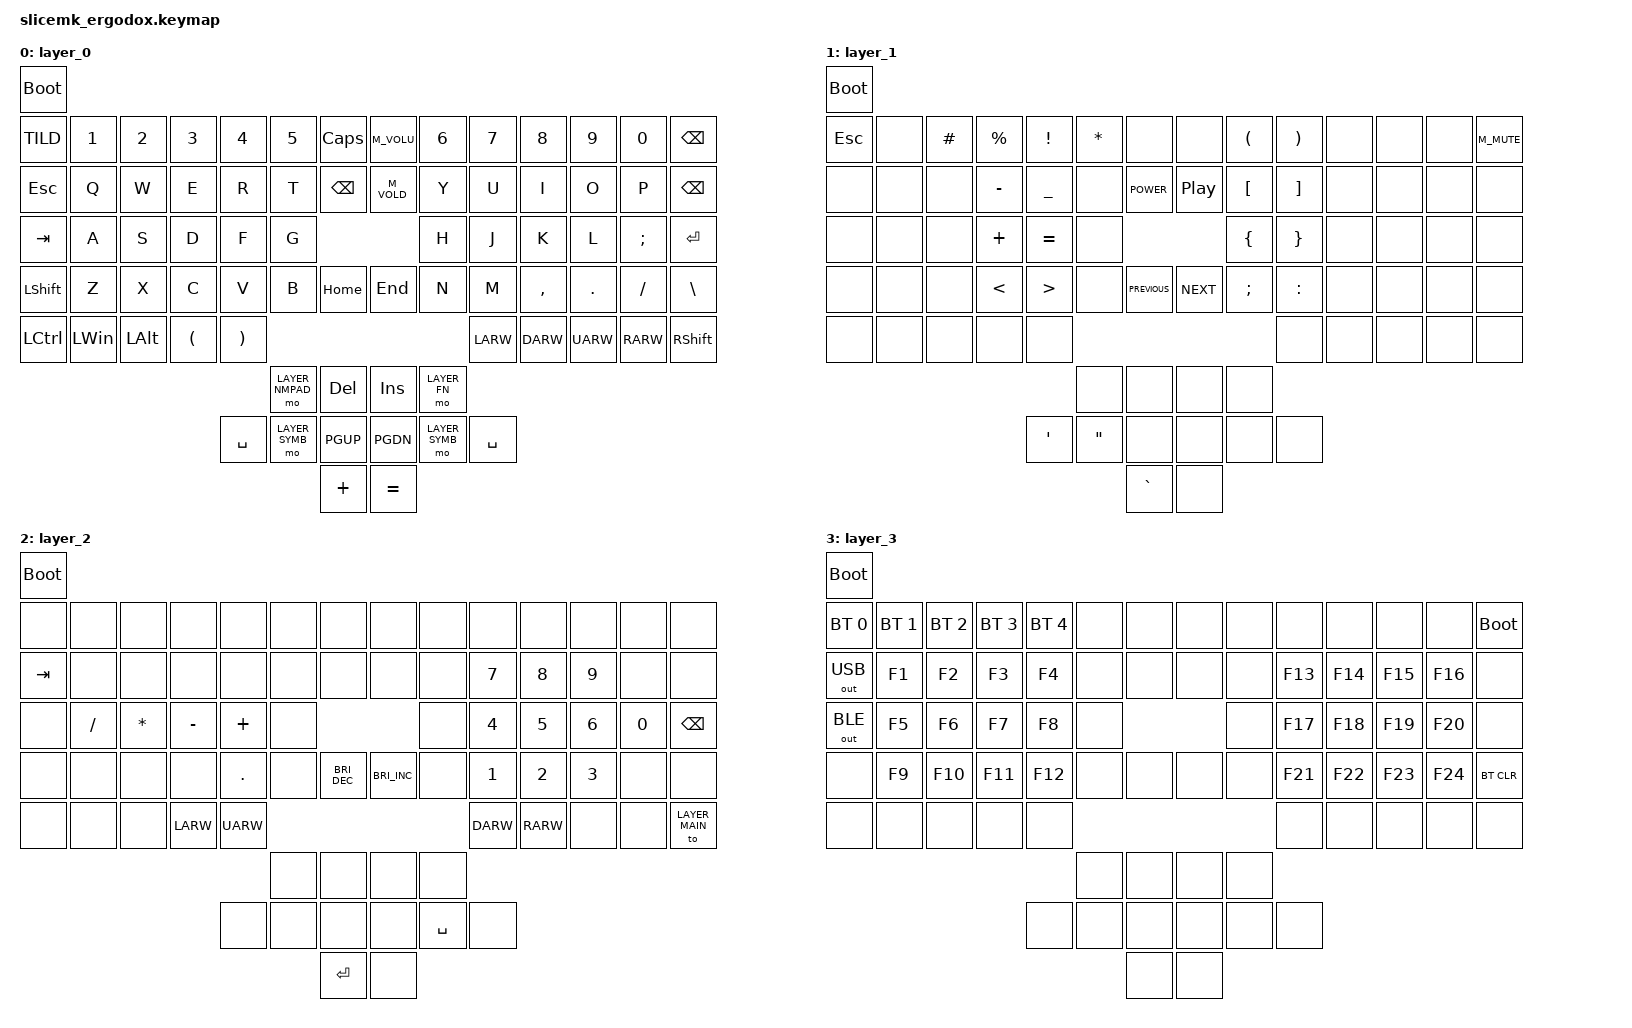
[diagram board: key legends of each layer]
#include <behaviors.dtsi>
#include <dt-bindings/zmk/bt.h>
#include <dt-bindings/zmk/keys.h>
#include <dt-bindings/zmk/outputs.h>
#include <dt-bindings/zmk/rgb.h>

#define LAYER_MAIN 0
#define LAYER_SYMB 1
#define LAYER_NMPAD 2
#define LAYER_FN 3



/ {
	keymap {
		compatible = "zmk,keymap";
		layer_0 {
			bindings = <
				&bootloader
				&kp TILD   &kp NUMBER_1 &kp NUMBER_2 &kp NUMBER_3 &kp NUMBER_4   &kp NUMBER_5    &kp CLCK    &kp M_VOLU  &kp NUMBER_6 &kp NUMBER_7   &kp NUMBER_8 &kp NUMBER_9 &kp NUMBER_0  &kp BKSP
				&kp ESC    &kp Q        &kp W        &kp E        &kp R          &kp T           &kp BKSP    &kp M_VOLD  &kp Y        &kp U          &kp I        &kp O        &kp P         &kp BKSP
				&kp TAB    &kp A        &kp S        &kp D        &kp F          &kp G                                   &kp H        &kp J          &kp K        &kp L        &kp SEMICOLON &kp RETURN
				&kp LSHFT  &kp Z        &kp X        &kp C        &kp V          &kp B           &kp HOME    &kp END     &kp N        &kp M          &kp CMMA     &kp DOT      &kp FSLH      &kp BSLH
				&kp LCTL   &kp LWIN     &kp LALT     &kp LPRN     &kp RPRN                                                            &kp LARW       &kp DARW     &kp UARW     &kp RARW      &kp RSHFT
				                                                                 &mo LAYER_NMPAD  &kp DEL    &kp INS     &mo LAYER_FN
				                                                  &kp SPC     &mo LAYER_SYMB   &kp PGUP   &kp PGDN    &mo LAYER_SYMB     &kp SPC
				                                                                                  &kp PLUS   &kp EQUAL
			>;
		};
		layer_1 {
			bindings = <
				&bootloader
				&kp ESC &none &kp HASH &kp PERCENT &kp EXCL         &kp STAR          &none          &none            &kp LPAR      &kp RPAR  &none &none &none &kp M_MUTE
				&none &none &none    &kp MINUS   &kp UNDERSCORE   &none             &kp C_POWER    &kp C_PLAY_PAUSE &kp LBKT      &kp RBKT  &none &none &none &none
				&none &none &none    &kp PLUS    &kp EQUAL        &none                                             &kp LBRC      &kp RBRC  &none &none &none &none
				&none &none &none    &kp LT      &kp GT           &none             &kp C_PREVIOUS &kp C_NEXT       &kp SEMICOLON &kp COLON &none &none &none &none
				&none &none &none    &none       &none                                                                            &none     &none &none &none &none
				                                                  &none             &none          &none            &none
				                                 &kp SINGLE_QUOTE &kp DOUBLE_QUOTES &none          &none            &none         &none
				                                                                    &kp GRAVE          &none
			>;
		};
		layer_2 {
			bindings = <
				&bootloader
				&none   &none     &none        &none     &none    &none &none                &none                &none   &none        &none        &none        &none        &none
				&kp TAB &none     &none        &none     &none    &none &none                &none                &none   &kp NUMBER_7 &kp NUMBER_8 &kp NUMBER_9 &none        &none
				&none   &kp SLASH &kp ASTERISK &kp MINUS &kp PLUS &none                                           &none   &kp NUMBER_4 &kp NUMBER_5 &kp NUMBER_6 &kp NUMBER_0 &kp BKSP
				&none   &none     &none        &none     &kp DOT  &none &kp C_BRIGHTNESS_DEC &kp C_BRIGHTNESS_INC &none   &kp NUMBER_1 &kp NUMBER_2 &kp NUMBER_3 &none        &none
				&none   &none     &none        &kp LARW  &kp UARW                                                         &kp DARW     &kp RARW     &none        &none        &to LAYER_MAIN
				                                                  &none &none                &none                &none
				                                         &none    &none &none                &none                &kp SPC &none
				                                                        &kp RET              &none
			>;
		};
		layer_3 {
			bindings = <
				&bootloader
				&bt BT_SEL 0 &bt BT_SEL 1 &bt BT_SEL 2 &bt BT_SEL 3 &bt BT_SEL 4 &none &none &none &none &none   &none   &none   &none   &bootloader
				&out OUT_USB &kp F1       &kp F2       &kp F3       &kp F4       &none &none &none &none &kp F13 &kp F14 &kp F15 &kp F16 &none
				&out OUT_BLE &kp F5       &kp F6       &kp F7       &kp F8       &none             &none &kp F17 &kp F18 &kp F19 &kp F20 &none
				&none        &kp F9       &kp F10      &kp F11      &kp F12      &none &none &none &none &kp F21 &kp F22 &kp F23 &kp F24 &bt BT_CLR
				&none        &none        &none        &none        &none                                &none   &none   &none   &none   &none
				                                                                 &none &none &none &none
				                                                    &none        &none &none &none &none &none
				                                                                       &none &none
			>;
		};
	};

};
